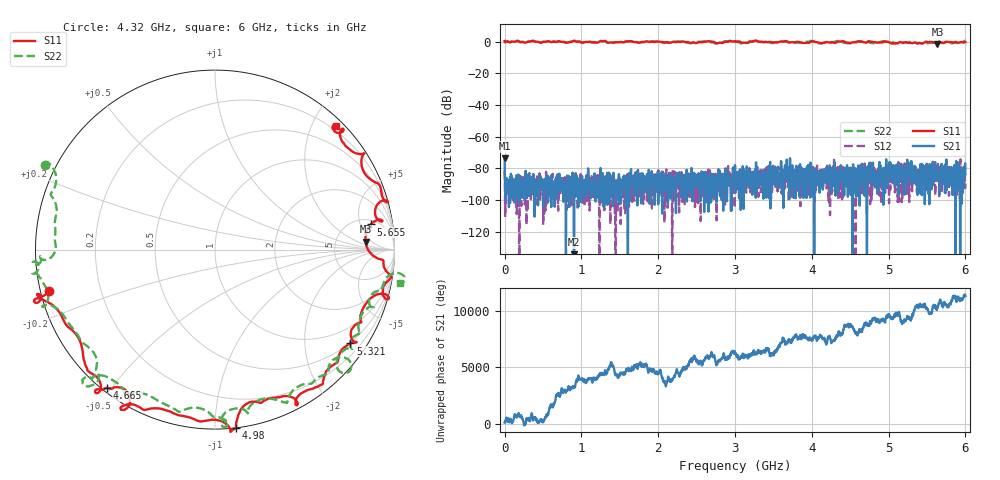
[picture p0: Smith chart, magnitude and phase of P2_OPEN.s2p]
# Hz S RI R 50
! RAW DATA - UNCALIBRATED
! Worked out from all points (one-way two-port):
!   1601 points, 30 kHz to 6 GHz, reference 50 ohm
!   highest |S21| = -73.56 dB at 30 kHz (marker M1); lowest = -185.8 dB at 903.8 MHz (marker M2)
!   lowest |S11| = -1.5 dB at 5.636 GHz (marker M3), VSWR 11.52, Z = 529 + j157 ohm
!   |S11| at or under -10 dB: nowhere
!   |S22| runs from -1.2 to 0.7 dB; largest |S21 - S12| = 0.00026
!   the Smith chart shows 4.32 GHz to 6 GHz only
!   S11 on the Smith chart (normalised r, x): 4.32 GHz: 0.03, -0.12; 4.665 GHz: 0.01, -0.49; 4.98 GHz: -0.00, -1.13; 5.321 GHz: 0.47, -3.14; 5.655 GHz: 6.12, +7.54; 6 GHz: 0.12, +2.38
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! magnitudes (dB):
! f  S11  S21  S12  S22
! 30 kHz  0.4  -73.6  -81.5  0.5
! 33.78 MHz  0.1  -91.0  -88.0  0.4
! 903.8 MHz  0.6  -185.8  -92.9  0.7
! 1.001 GHz  -0.6  -98.3  -88.9  -0.6
! 2.003 GHz  0.1  -101.8  -81.2  0.1
! 2.423 GHz  -0.8  -95.1  -99.1  -1.0
! 2.625 GHz  0.1  -101.5  -95.9  0.2
! 2.76 GHz  -1.0  -101.3  -112.9  -1.1
! 3 GHz  0.2  -78.0  -88.8  0.0
! 3.101 GHz  -0.6  -78.7  -85.9  -0.9
! 3.251 GHz  0.4  -85.3  -83.9  0.6
! 4.001 GHz  0.3  -88.8  -79.2  0.3
! 4.11 GHz  -0.8  -87.3  -80.2  -1.1
! 4.32 GHz  -0.4  -81.7  -82.0  0.5
! 4.47 GHz  -0.6  -98.0  -85.4  -1.0
! 4.665 GHz  -0.2  -83.4  -88.1  0.1
! 4.98 GHz  0.0  -85.3  -83.3  0.0
! 5.003 GHz  -0.3  -85.4  -89.5  -0.4
! 5.321 GHz  -0.7  -80.5  -85.4  -0.3
! 5.636 GHz  -1.5  -84.4  -84.5  -0.7
! 5.655 GHz  -1.1  -83.4  -86.8  0.0
! 6 GHz  -0.3  -83.7  -89.6  0.4
